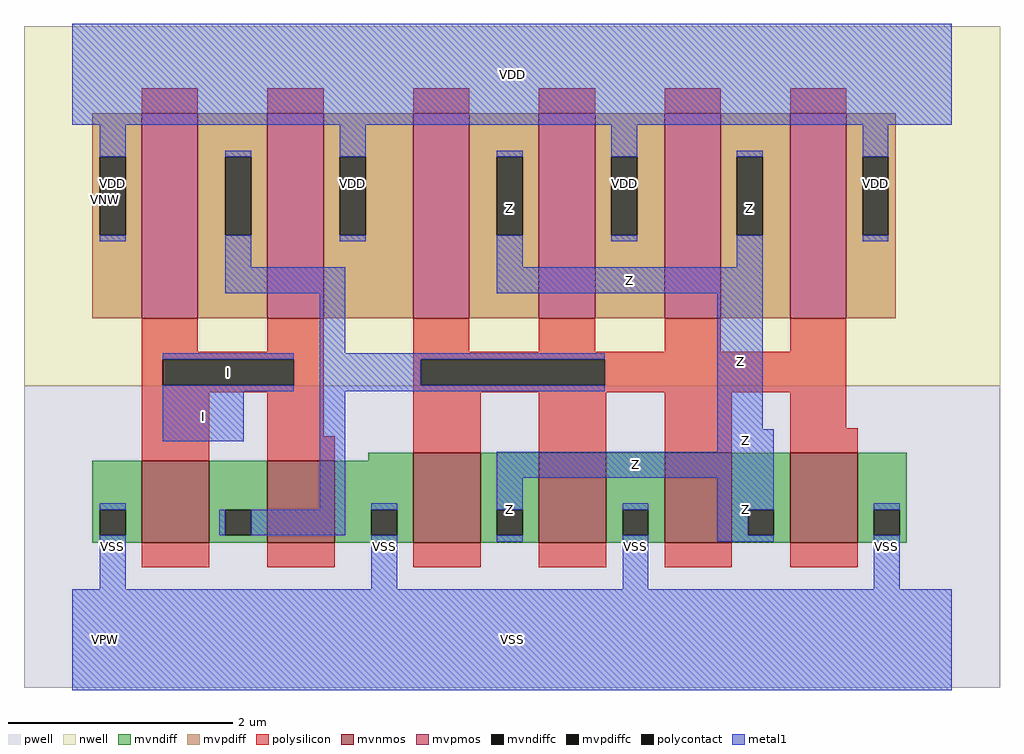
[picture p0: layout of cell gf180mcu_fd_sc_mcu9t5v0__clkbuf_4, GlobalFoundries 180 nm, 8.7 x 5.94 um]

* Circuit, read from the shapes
.subckt gf180mcu_fd_sc_mcu9t5v0__clkbuf_4 I Z VDD VNW VPW VSS
XM1 n1 I VSS VPW nfet_06v0 w=0.73u l=0.6u m=2
XM2 Z n1 VSS VPW nfet_06v0 w=0.8u l=0.6u m=4
XM3 n1 I VDD VNW pfet_06v0 w=1.83u l=0.5u m=2
XM4 Z n1 VDD VNW pfet_06v0 w=1.83u l=0.5u m=4
.ends

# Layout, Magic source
magic
tech gf180mcuD
magscale 1 10
<< nwell >>
rect -86 453 1654 1094
<< pwell >>
rect -86 -86 1654 453
<< mvnmos >>
rect 124 173 244 319
rect 348 173 468 319
rect 608 173 728 333
rect 832 173 952 333
rect 1056 173 1176 333
rect 1280 173 1400 333
<< mvpmos >>
rect 124 573 224 939
rect 348 573 448 939
rect 608 573 708 939
rect 832 573 932 939
rect 1056 573 1156 939
rect 1280 573 1380 939
<< mvndiff >>
rect 528 319 608 333
rect 36 232 124 319
rect 36 186 49 232
rect 95 186 124 232
rect 36 173 124 186
rect 244 232 348 319
rect 244 186 273 232
rect 319 186 348 232
rect 244 173 348 186
rect 468 232 608 319
rect 468 186 533 232
rect 579 186 608 232
rect 468 173 608 186
rect 728 232 832 333
rect 728 186 757 232
rect 803 186 832 232
rect 728 173 832 186
rect 952 232 1056 333
rect 952 186 981 232
rect 1027 186 1056 232
rect 952 173 1056 186
rect 1176 232 1280 333
rect 1176 186 1205 232
rect 1251 186 1280 232
rect 1176 173 1280 186
rect 1400 232 1488 333
rect 1400 186 1429 232
rect 1475 186 1488 232
rect 1400 173 1488 186
<< mvpdiff >>
rect 36 861 124 939
rect 36 721 49 861
rect 95 721 124 861
rect 36 573 124 721
rect 224 861 348 939
rect 224 721 273 861
rect 319 721 348 861
rect 224 573 348 721
rect 448 861 608 939
rect 448 721 477 861
rect 523 721 608 861
rect 448 573 608 721
rect 708 861 832 939
rect 708 721 757 861
rect 803 721 832 861
rect 708 573 832 721
rect 932 861 1056 939
rect 932 721 961 861
rect 1007 721 1056 861
rect 932 573 1056 721
rect 1156 861 1280 939
rect 1156 721 1185 861
rect 1231 721 1280 861
rect 1156 573 1280 721
rect 1380 861 1468 939
rect 1380 721 1409 861
rect 1455 721 1468 861
rect 1380 573 1468 721
<< mvndiffc >>
rect 49 186 95 232
rect 273 186 319 232
rect 533 186 579 232
rect 757 186 803 232
rect 981 186 1027 232
rect 1205 186 1251 232
rect 1429 186 1475 232
<< mvpdiffc >>
rect 49 721 95 861
rect 273 721 319 861
rect 477 721 523 861
rect 757 721 803 861
rect 961 721 1007 861
rect 1185 721 1231 861
rect 1409 721 1455 861
<< polysilicon >>
rect 124 939 224 983
rect 348 939 448 983
rect 608 939 708 983
rect 832 939 932 983
rect 1056 939 1156 983
rect 1280 939 1380 983
rect 124 513 224 573
rect 348 513 448 573
rect 124 500 448 513
rect 124 454 161 500
rect 395 454 448 500
rect 124 441 448 454
rect 124 319 244 441
rect 348 363 448 441
rect 608 513 708 573
rect 832 513 932 573
rect 1056 513 1156 573
rect 1280 513 1380 573
rect 608 500 1380 513
rect 608 454 621 500
rect 949 454 1380 500
rect 608 441 1380 454
rect 348 319 468 363
rect 608 333 728 441
rect 832 333 952 441
rect 1056 333 1176 441
rect 1280 377 1380 441
rect 1280 333 1400 377
rect 124 129 244 173
rect 348 129 468 173
rect 608 129 728 173
rect 832 129 952 173
rect 1056 129 1176 173
rect 1280 129 1400 173
<< polycontact >>
rect 161 454 395 500
rect 621 454 949 500
<< metal1 >>
rect 0 918 1568 1098
rect 49 861 95 918
rect 49 710 95 721
rect 273 861 319 872
rect 273 664 319 721
rect 477 861 523 918
rect 477 710 523 721
rect 757 861 803 872
rect 757 664 803 721
rect 961 861 1007 918
rect 961 710 1007 721
rect 1185 861 1231 872
rect 1185 664 1231 721
rect 1409 861 1455 918
rect 1409 710 1455 721
rect 273 618 487 664
rect 757 618 1231 664
rect 441 511 487 618
rect 161 500 395 511
rect 161 443 395 454
rect 441 500 949 511
rect 441 454 621 500
rect 441 443 949 454
rect 161 354 306 443
rect 49 232 95 243
rect 441 232 487 443
rect 1150 375 1231 618
rect 1150 335 1251 375
rect 757 289 1251 335
rect 262 186 273 232
rect 319 186 487 232
rect 533 232 579 243
rect 49 90 95 186
rect 533 90 579 186
rect 757 232 803 289
rect 757 175 803 186
rect 981 232 1027 243
rect 981 90 1027 186
rect 1150 232 1251 289
rect 1150 186 1205 232
rect 1150 175 1251 186
rect 1429 232 1475 243
rect 1429 90 1475 186
rect 0 -90 1568 90
<< labels >>
flabel metal1 s 161 443 395 511 0 FreeSans 200 0 0 0 I
port 1 nsew default input
flabel metal1 s 0 918 1568 1098 0 FreeSans 200 0 0 0 VDD
port 3 nsew power bidirectional abutment
flabel metal1 s 1429 90 1475 243 0 FreeSans 200 0 0 0 VSS
port 6 nsew ground bidirectional abutment
flabel metal1 s 1185 664 1231 872 0 FreeSans 200 0 0 0 Z
port 2 nsew default output
flabel nwell s 10 734 110 834 0 FreeSans 400 0 0 0 VNW
port 4 nsew power bidirectional
flabel pwell s 10 -50 110 50 0 FreeSans 400 0 0 0 VPW
port 5 nsew ground bidirectional
rlabel metal1 s 161 354 306 443 1 I
port 1 nsew default input
rlabel metal1 s 757 664 803 872 1 Z
port 2 nsew default output
rlabel metal1 s 757 618 1231 664 1 Z
port 2 nsew default output
rlabel metal1 s 1150 375 1231 618 1 Z
port 2 nsew default output
rlabel metal1 s 1150 335 1251 375 1 Z
port 2 nsew default output
rlabel metal1 s 757 289 1251 335 1 Z
port 2 nsew default output
rlabel metal1 s 1150 175 1251 289 1 Z
port 2 nsew default output
rlabel metal1 s 757 175 803 289 1 Z
port 2 nsew default output
rlabel metal1 s 1409 710 1455 918 1 VDD
port 3 nsew power bidirectional abutment
rlabel metal1 s 961 710 1007 918 1 VDD
port 3 nsew power bidirectional abutment
rlabel metal1 s 477 710 523 918 1 VDD
port 3 nsew power bidirectional abutment
rlabel metal1 s 49 710 95 918 1 VDD
port 3 nsew power bidirectional abutment
rlabel metal1 s 981 90 1027 243 1 VSS
port 6 nsew ground bidirectional abutment
rlabel metal1 s 533 90 579 243 1 VSS
port 6 nsew ground bidirectional abutment
rlabel metal1 s 49 90 95 243 1 VSS
port 6 nsew ground bidirectional abutment
rlabel metal1 s 0 -90 1568 90 1 VSS
port 6 nsew ground bidirectional abutment
<< properties >>
string FIXED_BBOX 0 0 1568 1008
string GDS_END 1395222
string GDS_FILE $PDKPATH/libs.ref/gf180mcu_fd_sc_mcu9t5v0/gds/gf180mcu_fd_sc_mcu9t5v0.gds
string GDS_START 1390928
string LEFclass core
string LEFsite GF018hv5v_green_sc9
string LEFsymmetry X Y
<< end >>
